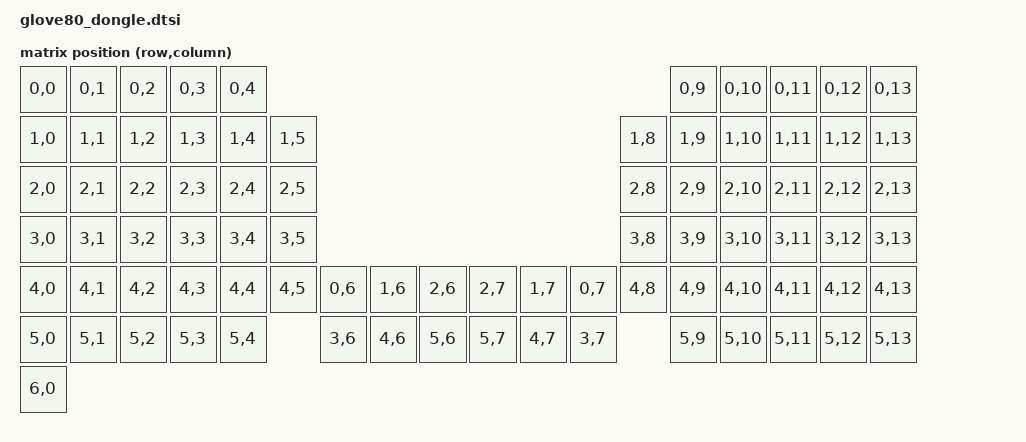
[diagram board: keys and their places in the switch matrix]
/*
 * Copyright (c) 2020 Pete Johanson
 *
 * SPDX-License-Identifier: MIT
 */

#include <dt-bindings/zmk/matrix_transform.h>
#include <dt-bindings/led/led.h>
#include <zephyr/dt-bindings/pinctrl/nrf-pinctrl.h>

/ {
	chosen {
		zmk,kscan = &kscan_composite;
		zmk,matrix-transform = &default_transform;
		/* Dongle underglow uses native RGB PWM LEDs from base board. */
		zmk,underglow = &pwmleds;
        zmk,backlight = &back_led_backlight;
		/*zmk,battery   = &vbatt; */
	};

	underglow-layer {
		compatible  = "zmk,underglow-layer";
		/* Central device does not render underglow; rendering handled by peripherals. */
		pixel-lookup = <>;
	};

	kscan_composite: kscan_composite {
		compatible = "zmk,kscan-composite";
		rows = <7>;
		columns = <14>;

		dongle {
			kscan = <&kscan0>;
		};
	};

	default_transform: keymap_transform_0 {
		compatible = "zmk,matrix-transform";
		columns = <14>;
		rows = <7>;
		map = <
RC(0,0) RC(0,1) RC(0,2) RC(0,3) RC(0,4)                                                                    RC(0,9) RC(0,10) RC(0,11) RC(0,12) RC(0,13)
RC(1,0) RC(1,1) RC(1,2) RC(1,3) RC(1,4) RC(1,5)                                                    RC(1,8) RC(1,9) RC(1,10) RC(1,11) RC(1,12) RC(1,13)
RC(2,0) RC(2,1) RC(2,2) RC(2,3) RC(2,4) RC(2,5)                                                    RC(2,8) RC(2,9) RC(2,10) RC(2,11) RC(2,12) RC(2,13)
RC(3,0) RC(3,1) RC(3,2) RC(3,3) RC(3,4) RC(3,5)                                                    RC(3,8) RC(3,9) RC(3,10) RC(3,11) RC(3,12) RC(3,13)
RC(4,0) RC(4,1) RC(4,2) RC(4,3) RC(4,4) RC(4,5) RC(0,6) RC(1,6) RC(2,6)   RC(2,7) RC(1,7)  RC(0,7) RC(4,8) RC(4,9) RC(4,10) RC(4,11) RC(4,12) RC(4,13)
RC(5,0) RC(5,1) RC(5,2) RC(5,3) RC(5,4)         RC(3,6) RC(4,6) RC(5,6)   RC(5,7) RC(4,7)  RC(3,7)         RC(5,9) RC(5,10) RC(5,11) RC(5,12) RC(5,13)
RC(6,0)
		>;
	};

	back_led_backlight: pwmleds {
		compatible = "pwm-leds";
		pwm_led_0 {
			pwms = <&pwm0 0 1000000 0>;
		};
	};
};

&adc {
	status = "okay";
};

&gpiote {
	status = "okay";
};

&gpio0 {
	status = "okay";
};

&gpio1 {
	status = "okay";
};

&pinctrl {
	/* SPI1 pinctrl is no longer needed; LED underglow uses native PWM LEDs. */
};

&spi1 {
	/* SPI1 is not used on dongle shield; LED underglow uses native PWM LEDs. */
	status = "disabled";
};
